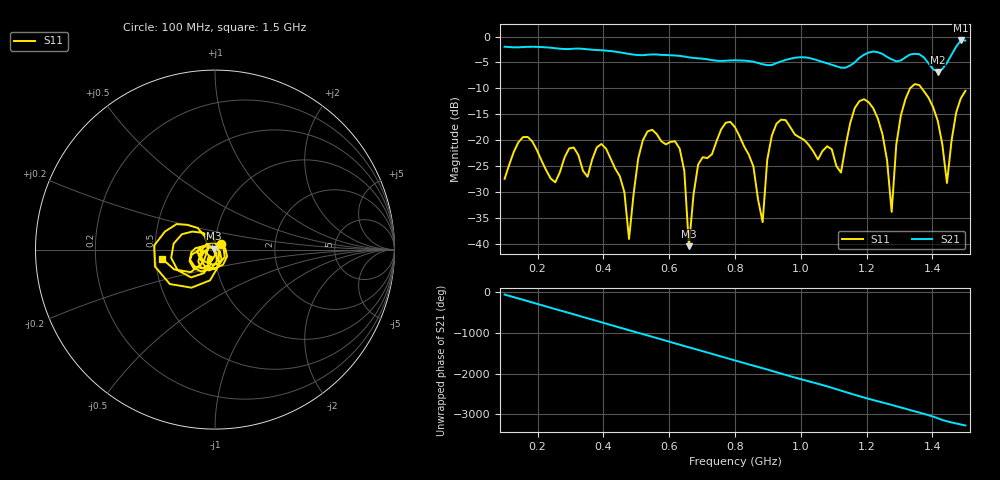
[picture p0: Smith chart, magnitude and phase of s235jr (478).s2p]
! NanoVNA-App
! Date: 2025-09-25 15:07:53
! Start: 100MHz Stop: 1,5GHz Points: 101
! S-Parameter data: F S11 S21 S12 S22
# Hz S RI R 50
!  Frequency  S11_Real  S11_Imag  S21_Real  S21_Imag  S12_Real  S12_Imag  S22_Real  S22_Imag
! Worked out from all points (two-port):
!   101 points, 100 MHz to 1.5 GHz, reference 50 ohm
!   highest |S21| = -0.76 dB at 1.486 GHz (marker M1); lowest = -6.8 dB at 1.416 GHz (marker M2)
!   |S21| within 3 dB of the highest: start of sweep to 634.2 MHz; 1.186 GHz to 1.258 GHz (71.24 MHz wide, 5.83 % of centre) (the widest 2 of 4)
!   lowest |S11| = -40.5 dB at 660 MHz (marker M3), VSWR 1.02, Z = 49.2 + j0.561 ohm
!   |S11| at or under -10 dB: start of sweep to 1.332 GHz; 1.367 GHz to end of sweep
!   S12 and S22 are empty: the file has one direction only
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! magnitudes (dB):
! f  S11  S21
! 100 MHz  -27.5  -2.0
! 156 MHz  -19.4  -2.0
! 338 MHz  -25.9  -2.4
! 408 MHz  -21.6  -2.7
! 478 MHz  -39.1  -3.4
! 520 MHz  -20.0  -3.6
! 576 MHz  -20.2  -3.5
! 632 MHz  -21.7  -3.7
! 660 MHz  -40.5  -4.0
! 688 MHz  -24.7  -4.2
! 800 MHz  -17.5  -4.6
! 884 MHz  -35.8  -5.4
! 926 MHz  -16.8  -5.1
! 1.038 GHz  -22.2  -4.4
! 1.122 GHz  -26.3  -6.0
! 1.206 GHz  -12.7  -3.1
! 1.276 GHz  -33.9  -4.4
! 1.332 GHz  -10.0  -3.5
! 1.416 GHz  -16.3  -6.8
! 1.444 GHz  -28.3  -5.1
! 1.486 GHz  -11.9  -0.8
! 1.5 GHz  -10.5  -0.8
